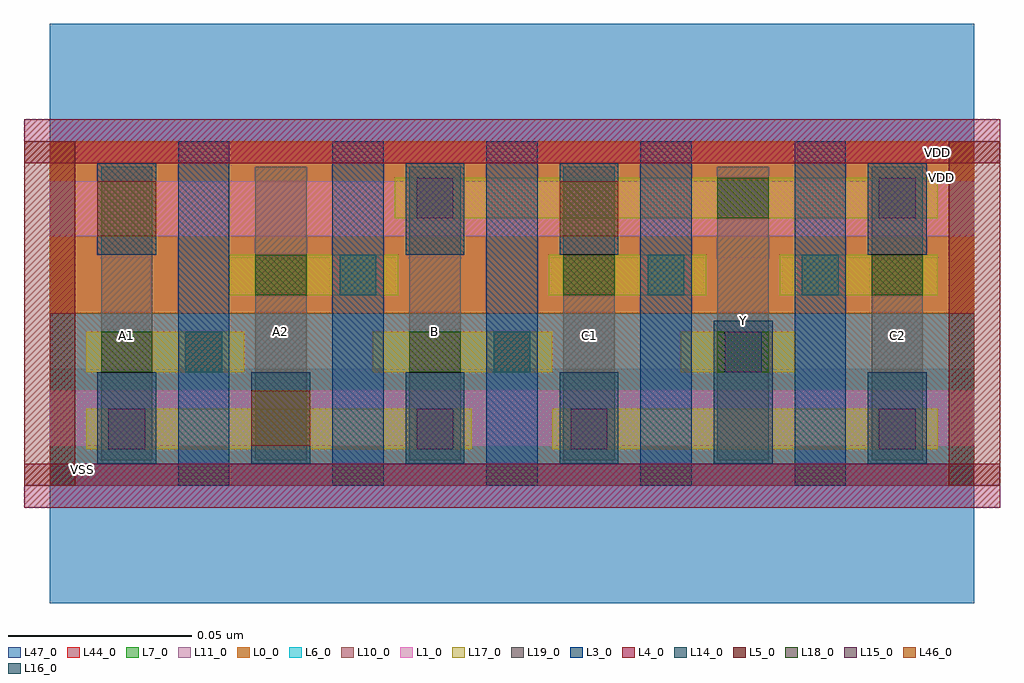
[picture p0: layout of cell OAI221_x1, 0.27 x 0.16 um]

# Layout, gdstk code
import gdstk
lib = gdstk.Library(unit=1e-6, precision=5e-10)
def R(c, l, rs):  # rectangles x0, y0, x1, y1
    for r in rs: c.add(gdstk.rectangle(r[:2], r[2:], *l))
def A(c, l, x, y, w, h, nx, ny, dx, dy):  # array of equal rectangles
    R(c, l, [(x+i*dx, y+j*dy, x+i*dx+w, y+j*dy+h) for i in range(nx) for j in range(ny)])
L0_0 = (0, 0)
L1_0 = (1, 0)
L3_0 = (3, 0)
L4_0 = (4, 0)
L5_0 = (5, 0)
L6_0 = (6, 0)
L7_0 = (7, 0)
L10_0 = (10, 0)
L11_0 = (11, 0)
L14_0 = (14, 0)
L15_0 = (15, 0)
L16_0 = (16, 0)
L17_0 = (17, 0)
L18_0 = (18, 0)
L19_0 = (19, 0)
L44_0 = (44, 0)
L46_0 = (46, 0)
L47_0 = (47, 0)

oai221_x1 = lib.new_cell('OAI221_x1')
R(oai221_x1, L0_0, [(0,0.047,0.252,0.094)])
R(oai221_x1, L1_0, [(0,0.011,0.252,0.026), (0,0.068,0.252,0.083)])
A(oai221_x1, L3_0, 0.035, 0, 0.014, 0.094, 5, 1, 0.042, 0)
R(oai221_x1, L4_0, [(-0.007,-0.006,0.259,0.006), (-0.007,0.088,0.259,0.1)])
R(oai221_x1, L5_0, [(-0.007,0,0.007,0.094), (0.245,0,0.259,0.094)])
R(oai221_x1, L6_0, [(0,0,0.252,0.047)])
R(oai221_x1, L7_0, [(0,0.047,0.252,0.094)])
R(oai221_x1, L10_0, [(0,0,0.252,0.047)])
R(oai221_x1, L11_0, [(0,0.047,0.252,0.094)])
A(oai221_x1, L14_0, 0.013, 0.006, 0.016, 0.025, 4, 1, 0.042, 0)
R(oai221_x1, L14_0, [(0.181,0.006,0.197,0.045), (0.223,0.006,0.239,0.031), (0.013,0.063,0.029,0.088), (0.097,0.063,0.113,0.088), (0.139,0.063,0.155,0.088), (0.223,0.063,0.239,0.088)])
R(oai221_x1, L15_0, [(0.016,0.01,0.026,0.021), (0.1,0.01,0.11,0.021), (0.142,0.01,0.152,0.021), (0.226,0.01,0.236,0.021), (0.184,0.031,0.194,0.042), (0.1,0.073,0.11,0.084), (0.226,0.073,0.236,0.084)])
R(oai221_x1, L16_0, [(0.037,0.031,0.047,0.042), (0.121,0.031,0.131,0.042), (0.079,0.052,0.089,0.063), (0.163,0.052,0.173,0.063), (0.205,0.052,0.215,0.063)])
R(oai221_x1, L17_0, [(0.01,0.01,0.115,0.021), (0.137,0.01,0.242,0.021), (0.01,0.031,0.053,0.042), (0.088,0.031,0.137,0.042), (0.172,0.031,0.203,0.042), (0.049,0.052,0.095,0.063), (0.136,0.052,0.179,0.063), (0.199,0.052,0.242,0.063), (0.094,0.073,0.242,0.084)])
A(oai221_x1, L18_0, 0.014, 0.031, 0.014, 0.011, 3, 1, 0.084, 0)
A(oai221_x1, L18_0, 0.056, 0.052, 0.014, 0.011, 3, 1, 0.084, 0)
R(oai221_x1, L18_0, [(0.182,0.073,0.196,0.084)])
A(oai221_x1, L19_0, 0.014, 0.007, 0.014, 0.08, 6, 1, 0.042, 0)
R(oai221_x1, L44_0, [(0,0,0.252,0.094)])
R(oai221_x1, L46_0, [(0.055,0.011,0.071,0.026), (0.013,0.068,0.029,0.083), (0.139,0.068,0.155,0.083)])
R(oai221_x1, L47_0, [(0,-0.032,0.252,0.032), (0,0.062,0.252,0.126)])
oai221_x1.add(gdstk.Label('VDD', (0.242,0.091), layer=0, texttype=2))
oai221_x1.add(gdstk.Label('A2', (0.063,0.042), layer=19, texttype=2))
oai221_x1.add(gdstk.Label('B', (0.105,0.042), layer=19, texttype=2))
oai221_x1.add(gdstk.Label('C1', (0.147,0.041), layer=19, texttype=2))
oai221_x1.add(gdstk.Label('C2', (0.231,0.041), layer=19, texttype=2))
oai221_x1.add(gdstk.Label('A1', (0.021,0.041), layer=19, texttype=2))
oai221_x1.add(gdstk.Label('Y', (0.189,0.045), layer=19, texttype=2))
oai221_x1.add(gdstk.Label('VDD', (0.243,0.084), layer=47, texttype=2))
oai221_x1.add(gdstk.Label('VSS', (0.009,0.0045), layer=47, texttype=2))
oai221_x1.add(gdstk.Label('VSS', (0.01,0.002), layer=54, texttype=2))

lib.write_gds('OAI221_x1.gds')
